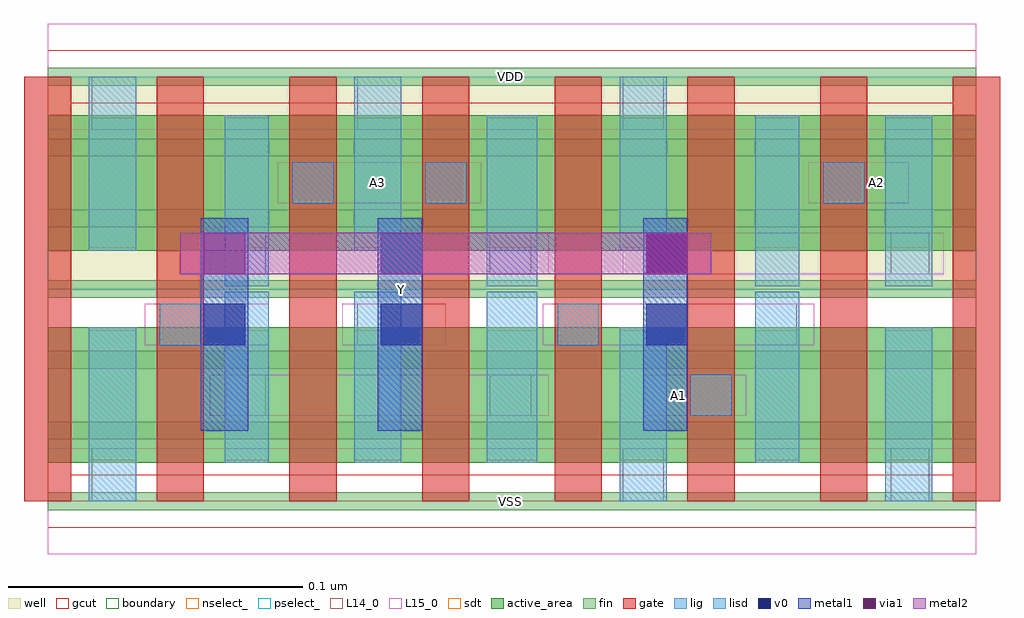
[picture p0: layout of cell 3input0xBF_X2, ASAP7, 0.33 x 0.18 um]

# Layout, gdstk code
import gdstk
lib = gdstk.Library(unit=1e-6, precision=1e-09)
def R(c, l, rs):  # rectangles x0, y0, x1, y1
    for r in rs: c.add(gdstk.rectangle(r[:2], r[2:], *l))
def A(c, l, x, y, w, h, nx, ny, dx, dy):  # array of equal rectangles
    R(c, l, [(x+i*dx, y+j*dy, x+i*dx+w, y+j*dy+h) for i in range(nx) for j in range(ny)])
def P(c, l, *ps):  # polygons
    for p in ps: c.add(gdstk.Polygon(p, *l))
well = (1, 0)
fin = (2, 0)
gate = (7, 0)
gcut = (10, 0)
active_area = (11, 0)
nselect_ = (12, 0)
pselect_ = (13, 0)
L14_0 = (14, 0)
L15_0 = (15, 0)
lig = (16, 0)
lisd = (17, 0)
v0 = (18, 0)
metal1 = (19, 0)
metal2 = (20, 0)
via1 = (21, 0)
sdt = (88, 0)
boundary = (100, 0)

c_3input0xbf_x2 = lib.new_cell('3input0xBF_X2')
R(c_3input0xbf_x2, well, [(0,0.072,0.315,0.144)])
A(c_3input0xbf_x2, fin, 0, -0.003, 0.315, 0.006, 1, 7, 0, 0.024)
A(c_3input0xbf_x2, gate, -0.008, 0, 0.016, 0.144, 8, 1, 0.045, 0)
P(c_3input0xbf_x2, gcut, [(0,-0.009),(0,0),(-0.008,0),(-0.008,0.135),(0.008,0.135),(0.008,0.009),(0.307,0.009),(0.307,0.135),(-0.008,0.135),(-0.008,0.144),(0,0.144),(0,0.153),(0.315,0.153),(0.315,0.144),(0.323,0.144),(0.323,0),(0.315,0),(0.315,-0.009)])
R(c_3input0xbf_x2, active_area, [(0,0.013,0.315,0.059), (0,0.085,0.315,0.131)])
R(c_3input0xbf_x2, nselect_, [(0,0,0.315,0.072)])
R(c_3input0xbf_x2, pselect_, [(0,0.072,0.315,0.144)])
R(c_3input0xbf_x2, L14_0, [(0.015,0,0.03,0.018), (0.195,0,0.209,0.018), (0.286,0,0.299,0.018), (0.06,0.029,0.074,0.043), (0.15,0.029,0.164,0.043), (0.218,0.029,0.232,0.043), (0.038,0.053,0.052,0.067), (0.105,0.053,0.12,0.067), (0.173,0.053,0.187,0.067), (0.24,0.053,0.254,0.067), (0.06,0.077,0.074,0.091), (0.15,0.077,0.164,0.091), (0.286,0.077,0.299,0.091), (0.083,0.101,0.097,0.115), (0.128,0.101,0.142,0.115), (0.263,0.101,0.277,0.115), (0.015,0.126,0.03,0.144), (0.105,0.126,0.12,0.144), (0.195,0.126,0.209,0.144)])
R(c_3input0xbf_x2, L15_0, [(0,-0.018,0.315,0.018), (0.055,0.029,0.17,0.043), (0.202,0.029,0.237,0.043), (0.033,0.053,0.075,0.067), (0.1,0.053,0.135,0.067), (0.168,0.053,0.26,0.067), (0.055,0.077,0.17,0.091), (0.195,0.077,0.304,0.091), (0.078,0.101,0.147,0.115), (0.258,0.101,0.292,0.115), (0,0.126,0.315,0.162)])
R(c_3input0xbf_x2, lig, [(0.218,0.029,0.232,0.043), (0.038,0.053,0.052,0.067), (0.173,0.053,0.187,0.067), (0.083,0.101,0.097,0.115), (0.128,0.101,0.142,0.115), (0.263,0.101,0.277,0.115)])
A(c_3input0xbf_x2, lisd, 0.014, 0.085, 0.016, 0.059, 3, 1, 0.09, 0)
R(c_3input0xbf_x2, lisd, [(0.014,0,0.03,0.059), (0.194,0,0.21,0.059), (0.284,0,0.3,0.059), (0.06,0.013,0.075,0.071), (0.104,0.013,0.12,0.071), (0.149,0.013,0.166,0.071), (0.24,0.013,0.255,0.071), (0.06,0.073,0.075,0.131), (0.149,0.073,0.166,0.131), (0.24,0.073,0.255,0.131), (0.284,0.073,0.3,0.131)])
R(c_3input0xbf_x2, v0, [(0.053,0.053,0.067,0.067), (0.113,0.053,0.127,0.067), (0.203,0.053,0.217,0.067), (0.113,0.077,0.127,0.091), (0.203,0.077,0.217,0.091)])
R(c_3input0xbf_x2, metal1, [(0.052,0.024,0.068,0.096), (0.112,0.024,0.127,0.096), (0.202,0.024,0.217,0.096)])
R(c_3input0xbf_x2, metal2, [(0.045,0.077,0.225,0.091)])
R(c_3input0xbf_x2, via1, [(0.053,0.077,0.067,0.091), (0.203,0.077,0.217,0.091)])
A(c_3input0xbf_x2, sdt, 0.014, 0.014, 0.016, 0.044, 4, 2, 0.09, 0.072)
R(c_3input0xbf_x2, sdt, [(0.06,0.014,0.075,0.058), (0.149,0.014,0.166,0.058), (0.24,0.014,0.255,0.058), (0.06,0.086,0.075,0.13), (0.149,0.086,0.166,0.13), (0.24,0.086,0.255,0.13)])
R(c_3input0xbf_x2, boundary, [(0,0,0.315,0.144)])
c_3input0xbf_x2.add(gdstk.Label('VSS', (0.157,0), layer=15, texttype=251))
c_3input0xbf_x2.add(gdstk.Label('VDD', (0.157,0.144), layer=15, texttype=251))
c_3input0xbf_x2.add(gdstk.Label('A1', (0.214,0.036), layer=15, texttype=251))
c_3input0xbf_x2.add(gdstk.Label('VSS', (0.157,0), layer=15, texttype=251))
c_3input0xbf_x2.add(gdstk.Label('VDD', (0.157,0.144), layer=15, texttype=251))
c_3input0xbf_x2.add(gdstk.Label('A3', (0.112,0.108), layer=15, texttype=251))
c_3input0xbf_x2.add(gdstk.Label('VSS', (0.157,0), layer=15, texttype=251))
c_3input0xbf_x2.add(gdstk.Label('VDD', (0.157,0.144), layer=15, texttype=251))
c_3input0xbf_x2.add(gdstk.Label('A2', (0.281,0.108), layer=15, texttype=251))
c_3input0xbf_x2.add(gdstk.Label('VSS', (0.157,0), layer=15, texttype=251))
c_3input0xbf_x2.add(gdstk.Label('VDD', (0.157,0.144), layer=15, texttype=251))
c_3input0xbf_x2.add(gdstk.Label('Y', (0.12,0.072), layer=19, texttype=251))
c_3input0xbf_x2.add(gdstk.Label('VSS', (0.157,0), layer=3, texttype=251))
c_3input0xbf_x2.add(gdstk.Label('VSS', (0.157,0), layer=3, texttype=251))
c_3input0xbf_x2.add(gdstk.Label('VSS', (0.157,0), layer=3, texttype=251))
c_3input0xbf_x2.add(gdstk.Label('VSS', (0.157,0), layer=3, texttype=251))
c_3input0xbf_x2.add(gdstk.Label('VDD', (0.157,0.144), layer=1, texttype=251))
c_3input0xbf_x2.add(gdstk.Label('VDD', (0.157,0.144), layer=1, texttype=251))
c_3input0xbf_x2.add(gdstk.Label('VDD', (0.157,0.144), layer=1, texttype=251))
c_3input0xbf_x2.add(gdstk.Label('VDD', (0.157,0.144), layer=1, texttype=251))

lib.write_gds('3input0xBF_X2.gds')
